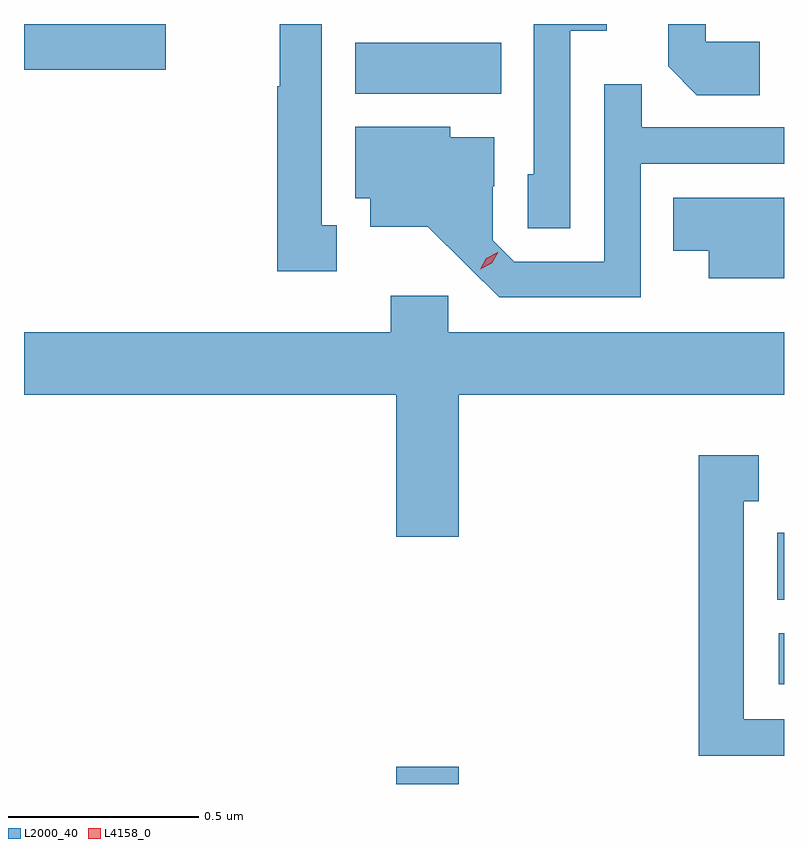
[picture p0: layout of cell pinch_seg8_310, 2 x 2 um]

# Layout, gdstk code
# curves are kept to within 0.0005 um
import gdstk
lib = gdstk.Library(unit=1e-6, precision=1e-09)
def R(c, l, rs):  # rectangles x0, y0, x1, y1
    for r in rs: c.add(gdstk.rectangle(r[:2], r[2:], *l))
def P(c, l, *ps):  # polygons
    for p in ps: c.add(gdstk.Polygon(p, *l))
L2000_40 = (2000, 40)
L4158_0 = (4158, 0)

pinch_seg8_310 = lib.new_cell('pinch_seg8_310')
R(pinch_seg8_310, L2000_40, [(536.636,1142.115,536.8,1142.161), (537.642,1142.378,537.656,1142.512), (537.638,1142.6,537.656,1142.776), (536.528,1143.932,536.912,1144.066), (535.656,1143.995,536.029,1144.115)])
P(pinch_seg8_310, L2000_40, [(537.093,1144.097),(537.19,1144.097),(537.19,1144.115),(536.997,1144.115),(536.997,1143.72),(536.982,1143.72),(536.982,1143.577),(537.093,1143.577)],
  [(536.479,1143.585),(536.44,1143.585),(536.44,1144.115),(536.329,1144.115),(536.329,1143.951),(536.322,1143.951),(536.322,1143.465),(536.479,1143.465)],
  [(537.592,1144.068),(537.45,1144.068),(537.45,1144.115),(537.351,1144.115),(537.351,1144.004),(537.427,1143.928),(537.592,1143.928)],
  [(537.279,1143.747),(537.656,1143.747),(537.656,1143.843),(537.281,1143.843),(537.281,1143.956),(537.183,1143.956),(537.183,1143.489),(536.946,1143.489),(536.889,1143.546),(536.889,1143.688),(536.893,1143.688),(536.893,1143.817),(536.778,1143.817),(536.778,1143.844),(536.528,1143.844),(536.528,1143.657),(536.567,1143.657),(536.567,1143.581),(536.719,1143.581),(536.906,1143.396),(537.279,1143.396)],
  [(537.656,1143.658),(537.364,1143.658),(537.364,1143.518),(537.458,1143.518),(537.458,1143.446),(537.656,1143.446)],
  [(536.8,1143.14),(537.656,1143.14),(537.656,1143.304),(536.772,1143.304),(536.772,1143.4),(536.621,1143.4),(536.621,1143.304),(535.656,1143.304),(535.656,1143.14),(536.636,1143.14),(536.636,1142.766),(536.8,1142.766)],
  [(537.656,1142.286),(537.55,1142.286),(537.55,1142.859),(537.589,1142.859),(537.589,1142.98),(537.432,1142.98),(537.432,1142.189),(537.656,1142.189)])
P(pinch_seg8_310, L4158_0, [(536.857,1143.469),(536.857,1143.469),(536.873,1143.499),(536.903,1143.515),(536.904,1143.515),(536.904,1143.514),(536.887,1143.485),(536.857,1143.469)])

lib.write_gds('pinch_seg8_310.gds')
